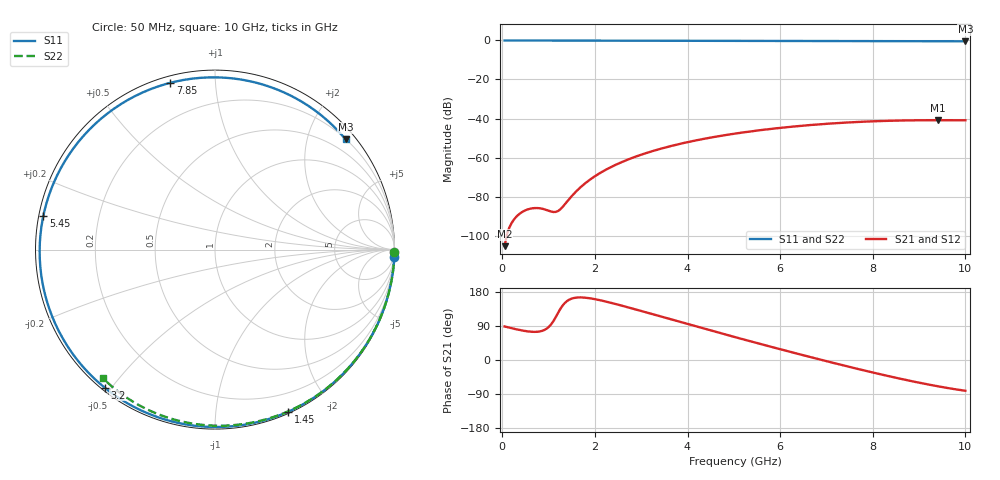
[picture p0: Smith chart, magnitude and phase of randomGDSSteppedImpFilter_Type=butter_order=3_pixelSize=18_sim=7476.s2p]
! freq	dB(S11)	phase(S11)	dB(S12)	phase(S12)
!  dB(S21)	phase(S21)	dB(S22)	phase(S22)
!S-par simulation data
#  GHz  S  DB  R 50
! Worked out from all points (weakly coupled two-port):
!   200 points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, 50 MHz to 10 GHz, reference 50 ohm
!   highest |S21| = -40.84 dB at 9.4 GHz (marker M1); lowest = -105.4 dB at 50 MHz (marker M2)
!   lowest |S11| = -0.4 dB at 10 GHz (marker M3), VSWR 40.70, Z = 10.4 + j136 ohm
!   |S11| at or under -10 dB: nowhere
!   |S22| runs from -0.4 to 0.0 dB; largest |S21 - S12| = 0
!   S11 on the Smith chart (normalised r, x): 50 MHz: 0, -48; 1.45 GHz: 0.02, -1.55; 3.2 GHz: 0.01, -0.48; 5.45 GHz: 0.01, +0.10; 7.85 GHz: 0.03, +0.77; 10 GHz: 0.21, +2.72
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0.05  -0.00 -2.4  -105.39 88.5  -105.39 88.5  -0.00 -0.8
0.35  -0.02 -16.6  -89.24 79.8  -89.24 79.8  -0.01 -5.3
0.65  -0.04 -30.6  -85.99 74.4  -85.99 74.4  -0.01 -9.8
1.05  -0.06 -48.6  -87.61 93.4  -87.61 93.4  -0.02 -15.8
1.45  -0.08 -65.7  -81.11 159.5  -81.11 159.5  -0.03 -21.7
1.5  -0.08 -67.8  -79.75 162.1  -79.75 162.1  -0.03 -22.5
1.75  -0.09 -77.9  -73.96 164.9  -73.96 164.9  -0.03 -26.2
2.05  -0.10 -89.4  -68.80 159.3  -68.80 159.3  -0.04 -30.5
2.35  -0.11 -100.4  -64.83 150.8  -64.83 150.8  -0.04 -34.9
3.2  -0.14 -128.7  -57.00 122.5  -57.00 122.5  -0.06 -47.0
3.4  -0.14 -134.8  -55.61 115.6  -55.61 115.6  -0.07 -49.8
4.2  -0.17 -157.9  -51.12 88.2  -51.12 88.2  -0.09 -60.8
5.05  -0.20 179.2  -47.63 59.5  -47.63 59.5  -0.11 -72.1
5.45  -0.22 168.8  -46.32 46.3  -46.32 46.3  -0.12 -77.3
6.05  -0.25 153.2  -44.67 26.9  -44.67 26.9  -0.15 -84.9
6.7  -0.28 136.2  -43.24 6.3  -43.24 6.3  -0.18 -92.9
7.3  -0.31 120.2  -42.24 -12.3  -42.24 -12.3  -0.21 -100.2
7.85  -0.34 105.0  -41.57 -28.6  -41.57 -28.6  -0.25 -106.7
8.35  -0.36 90.7  -41.16 -42.8  -41.16 -42.8  -0.29 -112.5
8.9  -0.38 74.4  -40.91 -57.4  -40.91 -57.4  -0.33 -118.8
9.4  -0.40 59.1  -40.84 -69.3  -40.84 -69.3  -0.38 -124.5
10  -0.43 40.2  -40.90 -81.2  -40.90 -81.2  -0.44 -131.2
